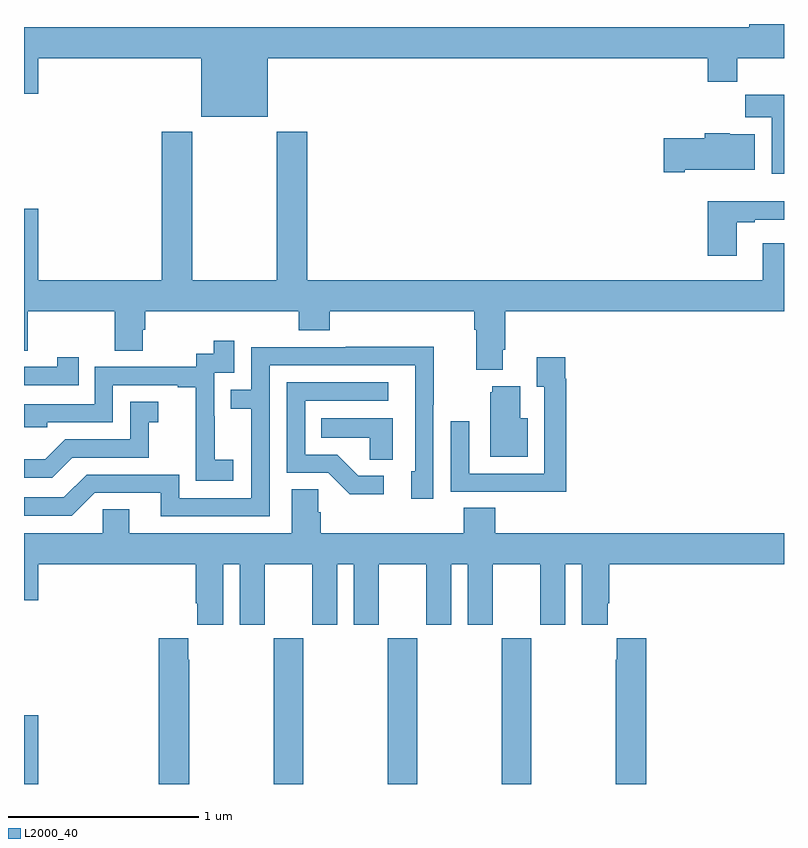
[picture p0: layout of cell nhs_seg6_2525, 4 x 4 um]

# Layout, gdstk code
import gdstk
lib = gdstk.Library(unit=1e-6, precision=1e-09)
def R(c, l, rs):  # rectangles x0, y0, x1, y1
    for r in rs: c.add(gdstk.rectangle(r[:2], r[2:], *l))
def A(c, l, x, y, w, h, nx, ny, dx, dy):  # array of equal rectangles
    R(c, l, [(x+i*dx, y+j*dy, x+i*dx+w, y+j*dy+h) for i in range(nx) for j in range(ny)])
def P(c, l, *ps):  # polygons
    for p in ps: c.add(gdstk.Polygon(p, *l))
L2000_40 = (2000, 40)

nhs_seg6_2525 = lib.new_cell('nhs_seg6_2525')
A(nhs_seg6_2525, L2000_40, 262.315, 959.5, 0.155, 0.768, 3, 1, 0.6, 0)
R(nhs_seg6_2525, L2000_40, [(261,959.5,261.076,959.863)])
P(nhs_seg6_2525, L2000_40, [(262.282,963.32),(264.599,963.32),(264.599,963.196),(264.755,963.196),(264.755,963.32),(265,963.32),(265,963.5),(264.818,963.5),(264.818,963.484),(261,963.484),(261,963.132),(261.076,963.132),(261.076,963.32),(261.932,963.32),(261.932,963.011),(262.282,963.011)],
  [(265,963.127),(264.796,963.127),(264.796,963.008),(264.935,963.008),(264.935,962.712),(265,962.712)],
  [(263.521,961.786),(263.534,961.786),(263.534,961.988),(265,961.988),(265,962.347),(264.887,962.347),(264.887,962.152),(262.49,962.152),(262.49,962.932),(262.33,962.932),(262.33,962.152),(261.885,962.152),(261.885,962.932),(261.725,962.932),(261.725,962.152),(261.076,962.152),(261.076,962.527),(261,962.527),(261,961.78),(261.021,961.78),(261.021,961.988),(261.478,961.988),(261.478,961.78),(261.625,961.78),(261.625,961.89),(261.638,961.89),(261.638,961.988),(262.445,961.988),(262.445,961.889),(262.61,961.889),(262.61,961.988),(263.369,961.988),(263.369,961.892),(263.381,961.892),(263.381,961.679),(263.521,961.679)],
  [(264.478,962.732),(264.847,962.732),(264.847,962.92),(264.714,962.92),(264.714,962.926),(264.584,962.926),(264.584,962.898),(264.366,962.898),(264.366,962.72),(264.478,962.72)],
  [(264.751,962.457),(264.847,962.457),(264.847,962.469),(265,962.469),(265,962.566),(264.599,962.566),(264.599,962.28),(264.751,962.28)],
  [(262.102,961.207),(262.004,961.207),(262.004,961.436),(262.002,961.436),(262.002,961.665),(262.107,961.665),(262.107,961.834),(261.999,961.834),(261.999,961.764),(261.906,961.764),(261.906,961.695),(261.372,961.695),(261.372,961.5),(261,961.5),(261,961.377),(261.123,961.377),(261.123,961.404),(261.468,961.404),(261.468,961.599),(261.809,961.599),(261.809,961.587),(261.904,961.587),(261.904,961.097),(262.102,961.097)],
  [(262.293,961.704),(263.058,961.704),(263.058,961.146),(263.039,961.146),(263.039,961.002),(263.154,961.002),(263.154,961.495),(263.157,961.495),(263.157,961.802),(262.693,961.802),(262.693,961.8),(262.197,961.8),(262.197,961.575),(262.087,961.575),(262.087,961.474),(262.197,961.474),(262.197,961.005),(261.816,961.005),(261.816,961.128),(261.33,961.128),(261.21,961.008),(261,961.008),(261,960.912),(261.252,960.912),(261.372,961.032),(261.719,961.032),(261.719,960.909),(262.293,960.909)],
  [(261.287,961.747),(261.176,961.747),(261.176,961.695),(261,961.695),(261,961.599),(261.287,961.599)],
  [(263.855,961.634),(263.848,961.634),(263.848,961.747),(263.699,961.747),(263.699,961.591),(263.739,961.591),(263.739,961.134),(263.343,961.134),(263.343,961.408),(263.247,961.408),(263.247,961.038),(263.563,961.038),(263.563,961.037),(263.855,961.037)],
  [(262.894,961.122),(262.759,961.122),(262.648,961.233),(262.479,961.233),(262.479,961.518),(262.918,961.518),(262.918,961.614),(262.383,961.614),(262.383,961.137),(262.602,961.137),(262.715,961.025),(262.894,961.025)],
  [(263.65,961.426),(263.611,961.426),(263.611,961.594),(263.465,961.594),(263.465,961.563),(263.453,961.563),(263.453,961.223),(263.65,961.223)],
  [(261.253,961.218),(261.657,961.218),(261.657,961.403),(261.706,961.403),(261.706,961.513),(261.558,961.513),(261.558,961.314),(261.216,961.314),(261.112,961.21),(261,961.21),(261,961.113),(261.148,961.113)],
  [(262.942,961.426),(262.564,961.426),(262.564,961.322),(262.821,961.322),(262.821,961.207),(262.942,961.207)],
  [(262.048,960.656),(262.136,960.656),(262.136,960.339),(262.267,960.339),(262.267,960.656),(262.517,960.656),(262.517,960.339),(262.648,960.339),(262.648,960.656),(262.736,960.656),(262.736,960.339),(262.867,960.339),(262.867,960.656),(263.117,960.656),(263.117,960.339),(263.248,960.339),(263.248,960.656),(263.336,960.656),(263.336,960.339),(263.467,960.339),(263.467,960.656),(263.717,960.656),(263.717,960.339),(263.848,960.339),(263.848,960.656),(263.936,960.656),(263.936,960.339),(264.073,960.339),(264.073,960.451),(264.08,960.451),(264.08,960.656),(265,960.656),(265,960.82),(263.48,960.82),(263.48,960.953),(263.315,960.953),(263.315,960.82),(262.562,960.82),(262.562,960.929),(262.548,960.929),(262.548,961.052),(262.409,961.052),(262.409,960.82),(261.553,960.82),(261.553,960.947),(261.414,960.947),(261.414,960.82),(261,960.82),(261,960.468),(261.076,960.468),(261.076,960.656),(261.904,960.656),(261.904,960.451),(261.911,960.451),(261.911,960.339),(262.048,960.339)],
  [(264.275,960.268),(264.119,960.268),(264.119,960.155),(264.115,960.155),(264.115,959.5),(264.275,959.5)],
  [(261.87,960.155),(261.865,960.155),(261.865,960.268),(261.71,960.268),(261.71,959.5),(261.87,959.5)])

lib.write_gds('nhs_seg6_2525.gds')
